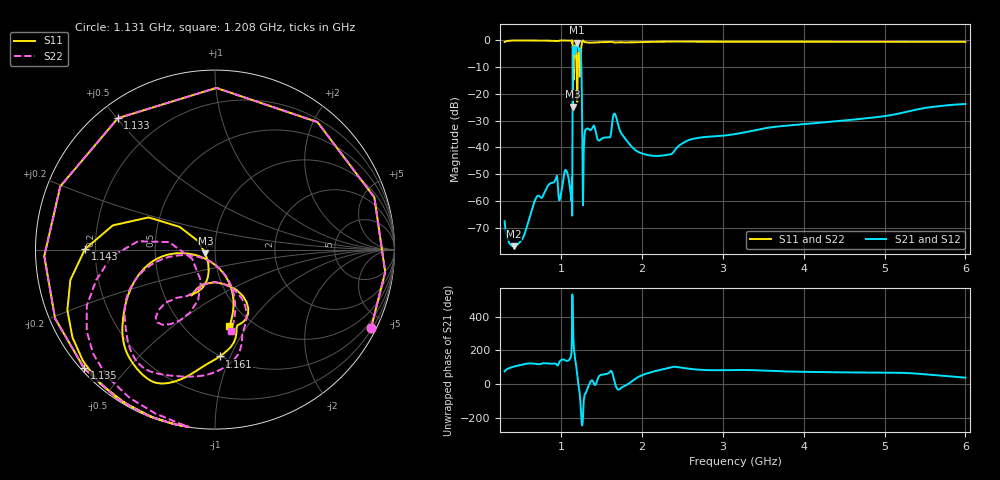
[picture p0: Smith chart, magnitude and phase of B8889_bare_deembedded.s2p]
! Project 16: GNSS L1 + L2/L5 active antenna front end (RFMW-ANT)
! Generated by Scripts/simulate.py from Scripts/ds_data.py; format GHz / RI, Z0 = 50 ohm
! ESTIMATED: B8889_matched.s2p with the two 6.8 nH shunt inductors (Q 40 @ 1.2 GHz [ASSUMED]) removed by
! de-embedding (inverse cascade). Add your own Lp1/Lp4 (or other matching) around it. Valid 0.3-6 GHz.
! Passivity enforced where the de-embedding gave max singular value > 1 (raw max 1.009).
# GHz S RI R 50.0
!freq ReS11 ImS11 ReS21 ImS21 ReS12 ImS12 ReS22 ImS22
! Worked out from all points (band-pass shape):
!   11401 points, 300 MHz to 6 GHz, reference 50 ohm
!   highest |S21| = -0.83 dB at 1.198 GHz (marker M1); lowest = -76.9 dB at 410 MHz (marker M2)
!   |S21| within 3 dB of the highest: 1.179 GHz to 1.22 GHz (41.29 MHz wide, 3.44 % of centre); 1.222 GHz to 1.239 GHz (16.97 MHz wide, 1.38 % of centre)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
!   lowest |S11| = -24.8 dB at 1.145 GHz (marker M3), VSWR 1.12, Z = 44.9 - j1.9 ohm
!   |S11| at or under -10 dB: 1.144 GHz to 1.154 GHz (9.972 MHz wide, 0.868 % of centre); 1.191 GHz to 1.204 GHz (13.62 MHz wide, 1.14 % of centre); 1.233 GHz to 1.24 GHz (6.347 MHz wide, 0.513 % of centre)
!   |S22| runs from -22.8 to 0.0 dB; largest |S21 - S12| = 0
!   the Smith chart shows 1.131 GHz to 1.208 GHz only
!   S11 on the Smith chart (normalised r, x): 1.131 GHz: 0.26, -4.21; 1.133 GHz: 0.06, +0.50; 1.135 GHz: 0.01, -0.39; 1.143 GHz: 0.16, +0.00; 1.161 GHz: 0.49, -0.91; 1.208 GHz: 0.79, -0.83
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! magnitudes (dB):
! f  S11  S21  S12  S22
! 300 MHz  -0.6  -67.5  -67.5  -0.6
! 410 MHz  0.0  -76.9  -76.9  0.0
! 701 MHz  -0.1  -58.3  -58.3  -0.1
! 1.058 GHz  -0.1  -48.4  -48.4  -0.1
! 1.109 GHz  0.0  -55.1  -55.1  0.0
! 1.131 GHz  -0.2  -54.5  -54.5  -0.2
! 1.133 GHz  -0.8  -53.9  -53.9  -0.8
! 1.135 GHz  -0.1  -65.5  -65.5  -0.1
! 1.143 GHz  -2.8  -7.1  -7.1  -4.8
! 1.145 GHz  -24.8  -2.9  -2.9  -10.6
! 1.161 GHz  -4.5  -3.2  -3.2  -3.5
! 1.198 GHz  -22.0  -0.8  -0.8  -20.8
! 1.208 GHz  -7.2  -1.8  -1.8  -6.7
! 1.23 GHz  -5.8  -3.2  -3.2  -6.2
! 1.25 GHz  -2.2  -10.7  -10.7  -4.0
! 1.288 GHz  -0.6  -35.5  -35.5  -0.6
! 1.664 GHz  -0.8  -27.4  -27.4  -0.8
! 2.2 GHz  -0.5  -43.1  -43.1  -0.5
! 3.15 GHz  -0.5  -35.0  -35.0  -0.5
! 4.101 GHz  -0.5  -31.0  -31.0  -0.5
! 5.05 GHz  -0.5  -28.1  -28.1  -0.5
! 6 GHz  -0.5  -23.8  -23.8  -0.5
